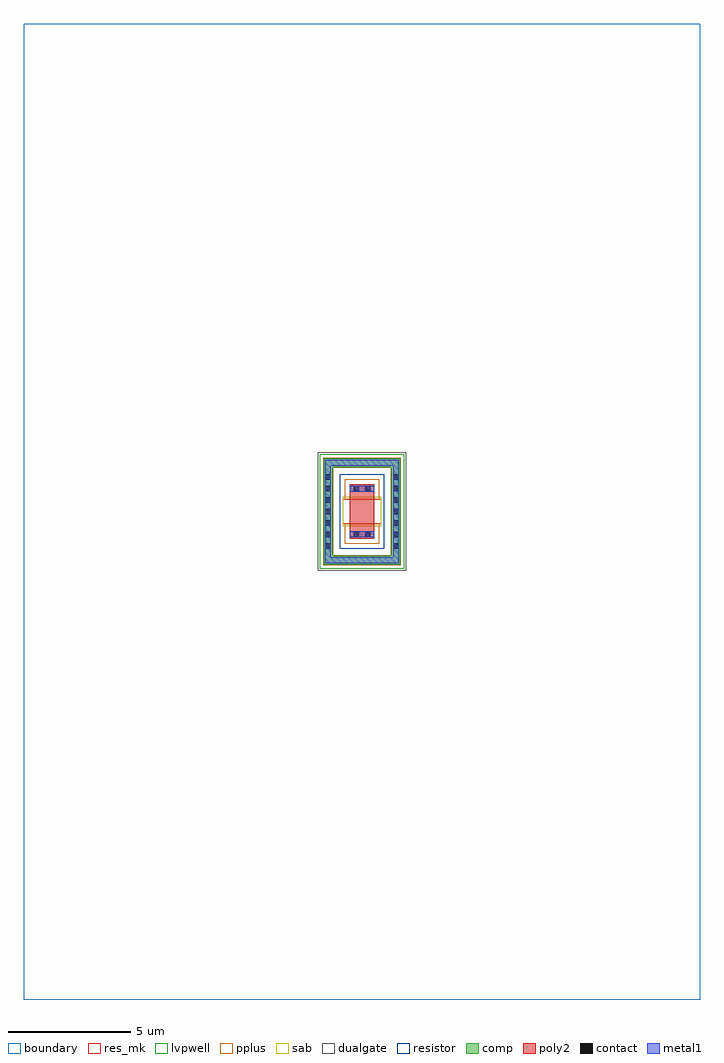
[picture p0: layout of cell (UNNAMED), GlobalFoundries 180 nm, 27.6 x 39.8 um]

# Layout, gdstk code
import gdstk
lib = gdstk.Library(unit=1e-6, precision=1e-09)
def R(c, l, rs):  # rectangles x0, y0, x1, y1
    for r in rs: c.add(gdstk.rectangle(r[:2], r[2:], *l))
def A(c, l, x, y, w, h, nx, ny, dx, dy):  # array of equal rectangles
    R(c, l, [(x+i*dx, y+j*dy, x+i*dx+w, y+j*dy+h) for i in range(nx) for j in range(ny)])
boundary = (0, 0)
comp = (22, 0)
poly2 = (30, 0)
pplus = (31, 0)
contact = (33, 0)
metal1 = (34, 0)
sab = (49, 0)
dualgate = (55, 0)
resistor = (62, 0)
res_mk = (110, 5)
lvpwell = (204, 0)

c__unnamed_ = lib.new_cell('(UNNAMED)')
R(c__unnamed_, boundary, [(-13.8,-19.9,13.8,19.9)])
R(c__unnamed_, comp, [(-1.56,-2.17,1.56,-1.81), (-1.56,-1.81,-1.2,1.81), (1.2,-1.81,1.56,1.81), (-1.56,1.81,1.56,2.17)])
R(c__unnamed_, poly2, [(-0.5,-1.11,0.5,1.11)])
R(c__unnamed_, pplus, [(-1.58,-2.19,1.58,-1.79), (-1.58,-1.79,-1.17,-1.685), (1.17,-1.79,1.58,-1.685), (-1.59,-1.685,-1.17,1.685), (1.17,-1.685,1.59,1.685), (-0.7,-1.31,0.7,-0.5), (-0.7,0.5,0.7,1.31), (-1.58,1.685,-1.17,1.79), (1.17,1.685,1.58,1.79), (-1.58,1.79,1.58,2.19)])
A(c__unnamed_, contact, -1.49, -1.52, 0.22, 0.22, 1, 7, 0, 0.47)
A(c__unnamed_, contact, 1.27, -1.52, 0.22, 0.22, 1, 7, 0, 0.47)
R(c__unnamed_, contact, [(-0.345,-1.04,-0.125,-0.82), (0.125,-1.04,0.345,-0.82), (-0.345,0.82,-0.125,1.04), (0.125,0.82,0.345,1.04)])
R(c__unnamed_, metal1, [(-1.495,-2.105,1.495,-1.875), (-1.495,-1.875,-1.265,1.875), (1.265,-1.875,1.495,1.875), (-0.49,-1.045,0.49,-0.815), (-0.49,0.815,0.49,1.045), (-1.495,1.875,1.495,2.105)])
R(c__unnamed_, sab, [(-0.78,-0.6,0.78,0.6), (-0.78,-0.5,0.78,0.5)])
R(c__unnamed_, dualgate, [(-1.8,-2.41,1.8,2.41)])
R(c__unnamed_, resistor, [(-0.9,-1.51,0.9,1.51)])
R(c__unnamed_, res_mk, [(-0.78,-0.5,0.78,0.5), (-0.5,-0.5,0.5,0.5)])
R(c__unnamed_, lvpwell, [(-1.72,-2.33,1.72,2.33)])

lib.write_gds('_UNNAMED_.gds')
